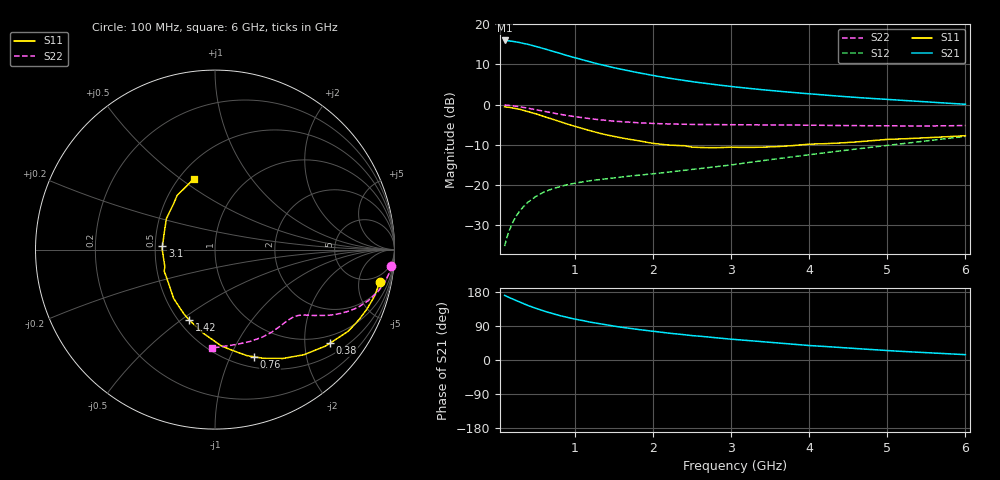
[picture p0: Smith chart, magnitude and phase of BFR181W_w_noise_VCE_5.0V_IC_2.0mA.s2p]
! Infineon Technologies  Discrete & RF Semiconductors
! BFR181W
! VCE =  5.0 V,  IC =  2.0 mA
! Common Emitter S-Parameters:  Nov 2015
# GHz  S  MA  R  50
!  f  S11  S21  S12  S22
! GHz  MAG  ANG  MAG  ANG  MAG  ANG  MAG  ANG
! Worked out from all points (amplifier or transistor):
!   192 points, 100 MHz to 6 GHz, reference 50 ohm
!   highest |S21| = 15.9 dB at 100 MHz (marker M1)
!   |S21| within 3 dB of that: start of sweep to 771.9 MHz
!   unconditionally stable (mu >= 1): 2.103 GHz to 3.578 GHz
!   at 440 MHz: K = 0.29, MSG = 19.2 dB, |S12| = -23.7 dB
!   at 1.7 GHz: K = 0.89, MSG = 13.1 dB, |S12| = -17.8 dB
!   at 6 GHz: K = 0.79, MSG = 4.0 dB, |S12| = -7.9 dB
!   lowest NFmin = 1.35 dB at 450 MHz
!   S11 on the Smith chart (normalised r, x): 100 MHz: 3.20, -9.29; 380 MHz: 0.79, -2.60; 760 MHz: 0.62, -1.23; 1.42 GHz: 0.56, -0.53; 3.1 GHz: 0.55, +0.03; 6 GHz: 0.59, +0.56
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0.1  0.9364 -11.0  6.269 170.5  0.0173 82.6  0.9871 -5.2
0.15  0.9258 -16.3  6.211 165.6  0.0257 80.4  0.9789 -7.7
0.24  0.8931 -25.6  6.037 157.5  0.0397 74.9  0.9553 -11.9
0.3  0.87 -31.6  5.884 152.4  0.0482 71.8  0.937 -14.5
0.38  0.8262 -39.1  5.656 145.6  0.0584 67.8  0.9075 -17.6
0.4  0.8176 -41.1  5.612 143.8  0.061 67.0  0.9006 -18.4
0.5  0.767 -49.8  5.291 136.3  0.0719 62.6  0.8625 -21.7
0.58  0.7229 -56.5  5.033 130.8  0.0793 59.9  0.8328 -23.8
0.7  0.6631 -66.0  4.65 123.0  0.0886 56.7  0.7905 -26.6
0.76  0.6347 -70.1  4.472 119.8  0.0924 55.3  0.7715 -27.7
0.9  0.5727 -79.8  4.066 112.4  0.1006 52.6  0.7312 -30.0
1  0.5373 -86.3  3.826 107.9  0.1051 51.5  0.7065 -31.3
1.1  0.5019 -91.7  3.591 104.1  0.1091 50.5  0.6856 -32.4
1.2  0.4715 -97.8  3.375 99.7  0.1131 49.5  0.6649 -33.5
1.42  0.4166 -110.4  2.992 92.0  0.1199 49.0  0.6312 -35.4
1.7  0.3691 -124.7  2.616 83.6  0.1287 49.5  0.6022 -37.4
2.08  0.3222 -142.8  2.229 73.8  0.1403 51.2  0.5782 -40.4
2.5  0.2952 -161.3  1.926 64.4  0.1552 53.7  0.5657 -43.8
3.1  0.2934 175.7  1.637 53.4  0.183 57.0  0.5596 -50.3
4.1  0.3233 144.8  1.336 37.0  0.2442 59.1  0.5521 -63.3
5.1  0.3712 122.8  1.141 23.7  0.3184 57.8  0.541 -78.0
6  0.4095 107.0  1.007 14.1  0.4015 54.3  0.5485 -91.5
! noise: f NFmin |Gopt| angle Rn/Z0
0.45  1.35  0.6  17  0.4
0.9  1.45  0.5  36  0.4
1.8  1.8  0.31  80  0.37
